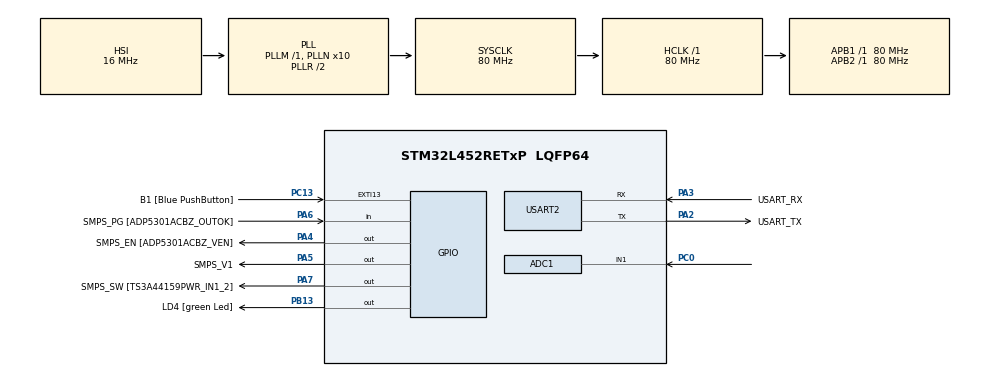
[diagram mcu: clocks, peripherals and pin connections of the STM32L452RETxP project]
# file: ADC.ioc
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ADC1.Channel-0\#ChannelRegularConversion=ADC_CHANNEL_1
ADC1.ContinuousConvMode=ENABLE
ADC1.DMAContinuousRequests=ENABLE
ADC1.NbrOfConversionFlag=1
ADC1.OffsetNumber-0\#ChannelRegularConversion=ADC_OFFSET_NONE
ADC1.Rank-0\#ChannelRegularConversion=1
ADC1.SamplingTime-0\#ChannelRegularConversion=ADC_SAMPLETIME_2CYCLES_5
ADC1.master=1
Dma.ADC1.0.Direction=DMA_PERIPH_TO_MEMORY
Dma.ADC1.0.Instance=DMA1_Channel1
Dma.ADC1.0.MemDataAlignment=DMA_MDATAALIGN_HALFWORD
Dma.ADC1.0.MemInc=DMA_MINC_ENABLE
Dma.ADC1.0.Mode=DMA_CIRCULAR
Dma.ADC1.0.PeriphDataAlignment=DMA_PDATAALIGN_HALFWORD
Dma.ADC1.0.PeriphInc=DMA_PINC_DISABLE
Dma.ADC1.0.Priority=DMA_PRIORITY_LOW
Dma.Request0=ADC1
Mcu.Family=STM32L4
Mcu.Name=STM32L452RETxP
Mcu.Package=LQFP64
NVIC.DMA1_Channel1_IRQn=true\:0\:0\:false\:false\:true\:false\:true\:true
NVIC.PriorityGroup=NVIC_PRIORITYGROUP_4
PA13\ (JTMS/SWDIO).GPIO_Label=TMS
PA13\ (JTMS/SWDIO).Mode=Serial_Wire
PA13\ (JTMS/SWDIO).Signal=SYS_JTMS-SWDIO
PA14\ (JTCK/SWCLK).GPIO_Label=TCK
PA14\ (JTCK/SWCLK).Mode=Serial_Wire
PA14\ (JTCK/SWCLK).Signal=SYS_JTCK-SWCLK
PA2.GPIO_Label=USART_TX
PA2.GPIO_Mode=GPIO_MODE_AF_PP
PA2.GPIO_PuPd=GPIO_NOPULL
PA2.GPIO_Speed=GPIO_SPEED_FREQ_VERY_HIGH
PA2.Mode=Asynchronous
PA2.Signal=USART2_TX
PA3.GPIO_Label=USART_RX
PA3.GPIO_Mode=GPIO_MODE_AF_PP
PA3.GPIO_PuPd=GPIO_NOPULL
PA3.GPIO_Speed=GPIO_SPEED_FREQ_VERY_HIGH
PA3.Mode=Asynchronous
PA3.Signal=USART2_RX
PA4.GPIO_Label=SMPS_EN [ADP5301ACBZ_VEN]
PA4.Signal=GPIO_Output
PA5.GPIO_Label=SMPS_V1
PA5.GPIO_ModeDefaultOutputPP=GPIO_MODE_OUTPUT_PP
PA5.GPIO_PuPd=GPIO_NOPULL
PA5.GPIO_Speed=GPIO_SPEED_FREQ_LOW
PA5.Signal=GPIO_Output
PA6.GPIO_Label=SMPS_PG [ADP5301ACBZ_OUTOK]
PA6.GPIO_PuPd=GPIO_PULLUP
PA6.Signal=GPIO_Input
PA7.GPIO_Label=SMPS_SW [TS3A44159PWR_IN1_2]
PA7.Signal=GPIO_Output
PB13.GPIO_Label=LD4 [green Led]
PB13.Signal=GPIO_Output
PB3\ (JTDO/TRACESWO).GPIO_Label=SWO
PB3\ (JTDO/TRACESWO).Signal=SYS_JTDO-SWO
PC0.Signal=ADCx_IN1
PC13.GPIO_Label=B1 [Blue PushButton]
PC13.GPIO_ModeDefaultEXTI=GPIO_MODE_IT_FALLING
PC13.GPIO_PuPd=GPIO_NOPULL
PC13.Signal=GPXTI13
PC14-OSC32_IN\ (PC14).Mode=LSE-External-Oscillator
PC14-OSC32_IN\ (PC14).Signal=RCC_OSC32_IN
PC15-OSC32_OUT\ (PC15).Mode=LSE-External-Oscillator
PC15-OSC32_OUT\ (PC15).Signal=RCC_OSC32_OUT
PH0-OSC_IN\ (PH0).GPIO_Label=MCO
PH0-OSC_IN\ (PH0).Mode=HSE-External-Clock-Source
PH0-OSC_IN\ (PH0).Signal=RCC_OSC_IN
PH1-OSC_OUT\ (PH1).Signal=RCC_OSC_OUT
ProjectManager.HeapSize=0x200
ProjectManager.StackSize=0x400
ProjectManager.TargetToolchain=STM32CubeIDE
RCC.ADCFreq_Value=64000000
RCC.AHBFreq_Value=80000000
RCC.APB1Freq_Value=80000000
RCC.APB1TimFreq_Value=80000000
RCC.APB2Freq_Value=80000000
RCC.APB2TimFreq_Value=80000000
RCC.CortexFreq_Value=80000000
RCC.HCLKFreq_Value=80000000
RCC.HSE_VALUE=8000000
RCC.HSI48_VALUE=48000000
RCC.HSI_VALUE=16000000
RCC.MSI_VALUE=4000000
RCC.PLLN=10
RCC.PLLSourceVirtual=RCC_PLLSOURCE_HSI
RCC.PREFETCH_ENABLE=1
RCC.SYSCLKFreq_VALUE=80000000
RCC.SYSCLKSource=RCC_SYSCLKSOURCE_PLLCLK
RCC.USBFreq_Value=64000000
RCC.VCOOutputFreq_Value=160000000
SH.ADCx_IN1.0=ADC1_IN1,IN1-Single-Ended
USART2.VirtualMode-Asynchronous=VM_ASYNC
board=NUCLEO-L452RE-P

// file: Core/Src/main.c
/* USER CODE BEGIN Header */
/**
  ******************************************************************************
  * @file           : main.c
  * @brief          : Main program body
  ******************************************************************************
  * @attention
  *
  * Copyright (c) 2023 STMicroelectronics.
  * All rights reserved.
  *
  * This software is licensed under terms that can be found in the LICENSE file
  * in the root directory of this software component.
  * If no LICENSE file comes with this software, it is provided AS-IS.
  *
  ******************************************************************************
  */
/* USER CODE END Header */
#include "main.h"

/* USER CODE BEGIN Includes */
#include "stdio.h"
#include "string.h"
/* USER CODE END Includes */

/* USER CODE BEGIN PD */
#define ADC_CONVERTED_DATA_BUFFER_SIZE   ((uint32_t)  32)   /* Size of array aADCxConvertedData[] */
#define Vref 1.8

/* USER CODE END PD */

ADC_HandleTypeDef hadc1;
DMA_HandleTypeDef hdma_adc1;

UART_HandleTypeDef huart2;

/* USER CODE BEGIN PV */
static uint16_t   aADCxConvertedData[ADC_CONVERTED_DATA_BUFFER_SIZE];
uint8_t idx, i;
float LSB = Vref/4096;
float AVER_AMP = 0;
//__IO uint16_t uhADCxConvertedValue = 0;
/* USER CODE END PV */

void SystemClock_Config(void);
static void MX_GPIO_Init(void);
static void MX_DMA_Init(void);
static void MX_USART2_UART_Init(void);
static void MX_ADC1_Init(void);
/* USER CODE BEGIN PFP */
#ifdef __GNUC__
  #define PUTCHAR_PROTOTYPE int __io_putchar(int ch)
#else
  #define PUTCHAR_PROTOTYPE int fputc(int ch, FILE *f)
#endif /* __GNUC__ */

PUTCHAR_PROTOTYPE
{
	HAL_UART_Transmit(&huart2, (uint8_t *)&ch, 1, 0xFFFF);
	return ch;
}
/* USER CODE END PFP */

int main(void)
{
  /* USER CODE BEGIN 1 */
//  uint16_t raw;
//  char msg[10];
  /* USER CODE END 1 */

  /* MCU Configuration--------------------------------------------------------*/

  /* Reset of all peripherals, Initializes the Flash interface and the Systick. */
  HAL_Init();

  /* Configure the system clock */
  SystemClock_Config();

  /* Initialize all configured peripherals */
  MX_GPIO_Init();
  MX_DMA_Init();
  MX_USART2_UART_Init();
  MX_ADC1_Init();
  /* USER CODE BEGIN 2 */
  if (HAL_ADCEx_Calibration_Start(&hadc1, ADC_SINGLE_ENDED) !=  HAL_OK)
    {
      Error_Handler();
    }
  if (HAL_ADC_Start_DMA(&hadc1,
                          (uint32_t *)aADCxConvertedData,
                          ADC_CONVERTED_DATA_BUFFER_SIZE
                         ) != HAL_OK)
    {
      Error_Handler();
    }
  /* USER CODE END 2 */

  /* Infinite loop */
  /* USER CODE BEGIN WHILE */
  while (1)
  {
	  HAL_GPIO_TogglePin(LD4_GPIO_Port, LD4_Pin);

	  for(i=0; i<32; i++){
		  AVER_AMP = AVER_AMP + aADCxConvertedData[i]*LSB/32;
	  }
	  printf("Amp = %f V \r\n", AVER_AMP);
	  AVER_AMP = 0;
//	  printf("aADCxConvertedData[%d] = %f V \r\n", idx, aADCxConvertedData[idx]*LSB);
//	  idx++;
//	  if(idx > 31){
//		  idx = 0;
//		  printf("\r\n");
//
//	  }
	  HAL_Delay(1000);
    /* USER CODE END WHILE */

  }
}

void SystemClock_Config(void)
{
  RCC_OscInitTypeDef RCC_OscInitStruct = {0};
  RCC_ClkInitTypeDef RCC_ClkInitStruct = {0};

  /** Configure the main internal regulator output voltage
  */
  if (HAL_PWREx_ControlVoltageScaling(PWR_REGULATOR_VOLTAGE_SCALE1) != HAL_OK)
  {
    Error_Handler();
  }

  /** Initializes the RCC Oscillators according to the specified parameters
  * in the RCC_OscInitTypeDef structure.
  */
  RCC_OscInitStruct.OscillatorType = RCC_OSCILLATORTYPE_HSI;
  RCC_OscInitStruct.HSIState = RCC_HSI_ON;
  RCC_OscInitStruct.HSICalibrationValue = RCC_HSICALIBRATION_DEFAULT;
  RCC_OscInitStruct.PLL.PLLState = RCC_PLL_ON;
  RCC_OscInitStruct.PLL.PLLSource = RCC_PLLSOURCE_HSI;
  RCC_OscInitStruct.PLL.PLLM = 1;
  RCC_OscInitStruct.PLL.PLLN = 10;
  RCC_OscInitStruct.PLL.PLLP = RCC_PLLP_DIV7;
  RCC_OscInitStruct.PLL.PLLQ = RCC_PLLQ_DIV2;
  RCC_OscInitStruct.PLL.PLLR = RCC_PLLR_DIV2;
  if (HAL_RCC_OscConfig(&RCC_OscInitStruct) != HAL_OK)
  {
    Error_Handler();
  }

  /** Initializes the CPU, AHB and APB buses clocks
  */
  RCC_ClkInitStruct.ClockType = RCC_CLOCKTYPE_HCLK|RCC_CLOCKTYPE_SYSCLK
                              |RCC_CLOCKTYPE_PCLK1|RCC_CLOCKTYPE_PCLK2;
  RCC_ClkInitStruct.SYSCLKSource = RCC_SYSCLKSOURCE_PLLCLK;
  RCC_ClkInitStruct.AHBCLKDivider = RCC_SYSCLK_DIV1;
  RCC_ClkInitStruct.APB1CLKDivider = RCC_HCLK_DIV1;
  RCC_ClkInitStruct.APB2CLKDivider = RCC_HCLK_DIV1;

  if (HAL_RCC_ClockConfig(&RCC_ClkInitStruct, FLASH_LATENCY_4) != HAL_OK)
  {
    Error_Handler();
  }
}

static void MX_ADC1_Init(void)
{

  ADC_ChannelConfTypeDef sConfig = {0};

  /** Common config
  */
  hadc1.Instance = ADC1;
  hadc1.Init.ClockPrescaler = ADC_CLOCK_ASYNC_DIV1;
  hadc1.Init.Resolution = ADC_RESOLUTION_12B;
  hadc1.Init.DataAlign = ADC_DATAALIGN_RIGHT;
  hadc1.Init.ScanConvMode = ADC_SCAN_DISABLE;
  hadc1.Init.EOCSelection = ADC_EOC_SINGLE_CONV;
  hadc1.Init.LowPowerAutoWait = DISABLE;
  hadc1.Init.ContinuousConvMode = ENABLE;
  hadc1.Init.NbrOfConversion = 1;
  hadc1.Init.DiscontinuousConvMode = DISABLE;
  hadc1.Init.ExternalTrigConv = ADC_SOFTWARE_START;
  hadc1.Init.ExternalTrigConvEdge = ADC_EXTERNALTRIGCONVEDGE_NONE;
  hadc1.Init.DMAContinuousRequests = ENABLE;
  hadc1.Init.Overrun = ADC_OVR_DATA_PRESERVED;
  hadc1.Init.OversamplingMode = DISABLE;
  hadc1.Init.DFSDMConfig = ADC_DFSDM_MODE_ENABLE;
  if (HAL_ADC_Init(&hadc1) != HAL_OK)
  {
    Error_Handler();
  }

  /** Configure Regular Channel
  */
  sConfig.Channel = ADC_CHANNEL_1;
  sConfig.Rank = ADC_REGULAR_RANK_1;
  sConfig.SamplingTime = ADC_SAMPLETIME_2CYCLES_5;
  sConfig.SingleDiff = ADC_SINGLE_ENDED;
  sConfig.OffsetNumber = ADC_OFFSET_NONE;
  sConfig.Offset = 0;
  if (HAL_ADC_ConfigChannel(&hadc1, &sConfig) != HAL_OK)
  {
    Error_Handler();
  }

}

static void MX_USART2_UART_Init(void)
{

  huart2.Instance = USART2;
  huart2.Init.BaudRate = 115200;
  huart2.Init.WordLength = UART_WORDLENGTH_8B;
  huart2.Init.StopBits = UART_STOPBITS_1;
  huart2.Init.Parity = UART_PARITY_NONE;
  huart2.Init.Mode = UART_MODE_TX_RX;
  huart2.Init.HwFlowCtl = UART_HWCONTROL_NONE;
  huart2.Init.OverSampling = UART_OVERSAMPLING_16;
  huart2.Init.OneBitSampling = UART_ONE_BIT_SAMPLE_DISABLE;
  huart2.AdvancedInit.AdvFeatureInit = UART_ADVFEATURE_NO_INIT;
  if (HAL_UART_Init(&huart2) != HAL_OK)
  {
    Error_Handler();
  }

}

static void MX_DMA_Init(void)
{

  /* DMA controller clock enable */
  __HAL_RCC_DMA1_CLK_ENABLE();

  /* DMA interrupt init */
  /* DMA1_Channel1_IRQn interrupt configuration */
  HAL_NVIC_SetPriority(DMA1_Channel1_IRQn, 0, 0);
  HAL_NVIC_EnableIRQ(DMA1_Channel1_IRQn);

}

static void MX_GPIO_Init(void)
{
  GPIO_InitTypeDef GPIO_InitStruct = {0};

  /* GPIO Ports Clock Enable */
  __HAL_RCC_GPIOC_CLK_ENABLE();
  __HAL_RCC_GPIOH_CLK_ENABLE();
  __HAL_RCC_GPIOA_CLK_ENABLE();
  __HAL_RCC_GPIOB_CLK_ENABLE();

  /*Configure GPIO pin Output Level */
  HAL_GPIO_WritePin(GPIOA, SMPS_EN_Pin|SMPS_V1_Pin|SMPS_SW_Pin, GPIO_PIN_RESET);

  /*Configure GPIO pin Output Level */
  HAL_GPIO_WritePin(LD4_GPIO_Port, LD4_Pin, GPIO_PIN_RESET);

  /*Configure GPIO pin : B1_Pin */
  GPIO_InitStruct.Pin = B1_Pin;
  GPIO_InitStruct.Mode = GPIO_MODE_IT_FALLING;
  GPIO_InitStruct.Pull = GPIO_NOPULL;
  HAL_GPIO_Init(B1_GPIO_Port, &GPIO_InitStruct);

  /*Configure GPIO pins : SMPS_EN_Pin SMPS_V1_Pin SMPS_SW_Pin */
  GPIO_InitStruct.Pin = SMPS_EN_Pin|SMPS_V1_Pin|SMPS_SW_Pin;
  GPIO_InitStruct.Mode = GPIO_MODE_OUTPUT_PP;
  GPIO_InitStruct.Pull = GPIO_NOPULL;
  GPIO_InitStruct.Speed = GPIO_SPEED_FREQ_LOW;
  HAL_GPIO_Init(GPIOA, &GPIO_InitStruct);

  /*Configure GPIO pin : SMPS_PG_Pin */
  GPIO_InitStruct.Pin = SMPS_PG_Pin;
  GPIO_InitStruct.Mode = GPIO_MODE_INPUT;
  GPIO_InitStruct.Pull = GPIO_PULLUP;
  HAL_GPIO_Init(SMPS_PG_GPIO_Port, &GPIO_InitStruct);

  /*Configure GPIO pin : LD4_Pin */
  GPIO_InitStruct.Pin = LD4_Pin;
  GPIO_InitStruct.Mode = GPIO_MODE_OUTPUT_PP;
  GPIO_InitStruct.Pull = GPIO_NOPULL;
  GPIO_InitStruct.Speed = GPIO_SPEED_FREQ_LOW;
  HAL_GPIO_Init(LD4_GPIO_Port, &GPIO_InitStruct);

}

/* USER CODE BEGIN 4 */
void HAL_ADC_ConvHalfCpltCallback(ADC_HandleTypeDef* hadc1){
	HAL_GPIO_WritePin(LD4_GPIO_Port, LD4_Pin, GPIO_PIN_SET);
}

void HAL_ADC_ConvCpltCallback(ADC_HandleTypeDef* hadc1){
	HAL_GPIO_WritePin(LD4_GPIO_Port, LD4_Pin, GPIO_PIN_RESET);
}
/* USER CODE END 4 */

void Error_Handler(void)
{
  __disable_irq();
  while (1)
  {
  }
}
